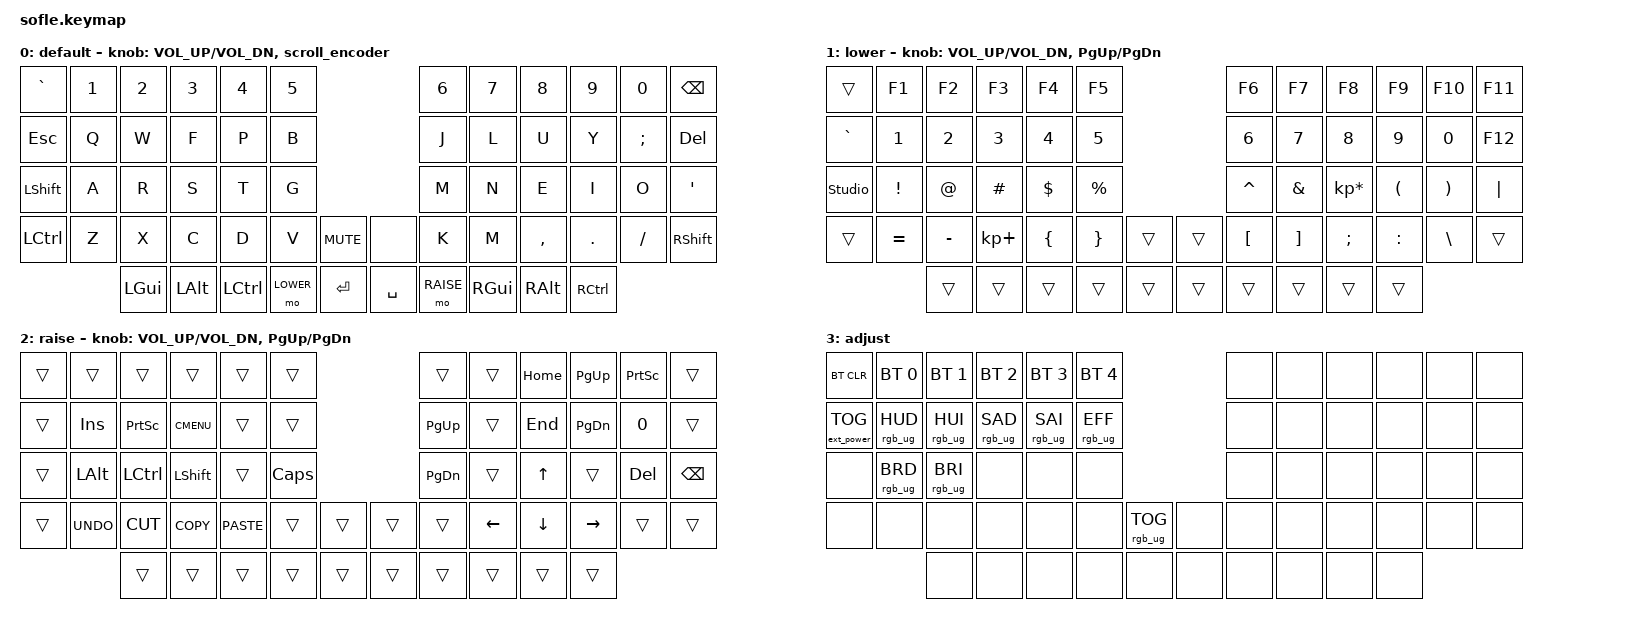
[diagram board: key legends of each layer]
/*
 * Copyright (c) 2020 The ZMK Contributors
 *
 * SPDX-License-Identifier: MIT
 */

#define ZMK_POINTING_DEFAULT_MOVE_VAL 1200  // 600
#define ZMK_POINTING_DEFAULT_SCRL_VAL 25   // 10

#include <behaviors.dtsi>
#include <dt-bindings/zmk/bt.h>
#include <dt-bindings/zmk/ext_power.h>
#include <dt-bindings/zmk/keys.h>
#include <dt-bindings/zmk/pointing.h>
#include <dt-bindings/zmk/rgb.h>

#define BASE 0
#define LOWER 1
#define RAISE 2
#define ADJUST 3

&msc {
    acceleration-exponent = <1>;      // 0
    time-to-max-speed-ms = <100>;       // 300
    delay-ms = <0>;                   // 0
};

&mmv {
    time-to-max-speed-ms = <500>;
    acceleration-exponent = <1>;
    trigger-period-ms = <16>;
};

/ {
    scroll_encoder: scroll_encoder {
        compatible = "zmk,behavior-sensor-rotate";
        #sensor-binding-cells = <0>;
        bindings = <&msc SCRL_DOWN>, <&msc SCRL_UP>;

        tap-ms = <100>;
    };

    // Activate ADJUST layer by pressing raise and lower

    conditional_layers {
        compatible = "zmk,conditional-layers";

        adjust_layer {
            if-layers = <LOWER RAISE>;
            then-layer = <ADJUST>;
        };
    };

    behaviors {
    };

    keymap {
        compatible = "zmk,keymap";

        default_layer {
            display-name = "default";

            // ------------------------------------------------------------------------------------------------------------
            // |  ESC  |  1  |  2  |  3   |  4   |  5   |                   |  6   |  7    |  8    |  9   |   0   | BKSPC |
            // |  TAB  |  Q  |  W  |  E   |  R   |  T   |                   |  Y   |  U    |  I    |  O   |   P   | DEL   |
            // | SHIFT |  A  |  S  |  D   |  F   |  G   |                   |  H   |  J    |  K    |  L   |   ;   |   '   |
            // |  CTRL |  Z  |  X  |  C   |  V   |  B   |  MUTE  |  |       |  N   |  M    |  ,    |  .   |   /   | SHIFT |
            //               | GUI | ALT  | CTRL | LOWER|  ENTER |  | SPACE | RAISE| CTRL  | ALT   | GUI  |

            bindings = <
&kp GRAVE  &kp N1  &kp N2    &kp N3    &kp N4     &kp N5                              &kp N6     &kp N7    &kp N8     &kp N9     &kp N0    &kp BSPC
&kp ESC    &kp Q   &kp W     &kp F     &kp P      &kp B                               &kp J      &kp L     &kp U      &kp Y      &kp SEMI  &kp DEL
&kp LSHFT  &kp A   &kp R     &kp S     &kp T      &kp G                               &kp M      &kp N     &kp E      &kp I      &kp O     &kp SQT
&kp LCTRL  &kp Z   &kp X     &kp C     &kp D      &kp V      &kp C_MUTE    &none      &kp K      &kp M     &kp COMMA  &kp DOT    &kp FSLH  &kp RSHFT
                   &kp LGUI  &kp LALT  &kp LCTRL  &mo LOWER  &kp RET       &kp SPACE  &mo RAISE  &kp RGUI  &kp RALT   &kp RCTRL
            >;

            sensor-bindings = <&inc_dec_kp C_VOL_UP C_VOL_DN &scroll_encoder>;
        };

        lower_layer {
            display-name = "lower";

            // TODO: Some binds are waiting for shifted keycode support.
            // ------------------------------------------------------------------------------------------------------------
            // |       |  F1 |  F2 |  F3  |  F4  |  F5  |                   |  F6  |  F7   |  F8   |  F9  |  F10  |  F11  |
            // |   `   |  1  |  2  |  3   |  4   |  5   |                   |  6   |  7    |  8    |  9   |   0   |  F12  |
            // |       |  !  |  @  |  #   |  $   |  %   |                   |  ^   |  &    |  *    |  (   |   )   |   |   |
            // |       |  =  |  -  |  +   |  {   |  }   |        |  |       |  [   |  ]    |  ;    |  :   |   \   |       |
            //               |     |      |      |      |        |  |       |      |       |       |      |

            bindings = <
&trans          &kp F1     &kp F2     &kp F3       &kp F4    &kp F5                       &kp F6     &kp F7    &kp F8           &kp F9     &kp F10   &kp F11
&kp GRAVE       &kp N1     &kp N2     &kp N3       &kp N4    &kp N5                       &kp N6     &kp N7    &kp N8           &kp N9     &kp N0    &kp F12
&studio_unlock  &kp EXCL   &kp AT     &kp HASH     &kp DLLR  &kp PRCNT                    &kp CARET  &kp AMPS  &kp KP_MULTIPLY  &kp LPAR   &kp RPAR  &kp PIPE
&trans          &kp EQUAL  &kp MINUS  &kp KP_PLUS  &kp LBRC  &kp RBRC   &trans    &trans  &kp LBKT   &kp RBKT  &kp SEMI         &kp COLON  &kp BSLH  &trans
                           &trans     &trans       &trans    &trans     &trans    &trans  &trans     &trans    &trans           &trans
            >;

            sensor-bindings = <&inc_dec_kp C_VOL_UP C_VOL_DN &inc_dec_kp PG_UP PG_DN>;
        };

        raise_layer {
            display-name = "raise";

            // ------------------------------------------------------------------------------------------------------------
            // | BTCLR | BT1  | BT2  |  BT3  |  BT4  |  BT5 |                |      |      |       |      |       |       |
            // |       | INS  | PSCR | GUI   |       |      |                | PGUP |      |   ^   |      |       |       |
            // |       | ALT  | CTRL | SHIFT |       | CAPS |                | PGDN |   <- |   v   |  ->  |  DEL  | BKSPC |
            // |       | UNDO | CUT  | COPY  | PASTE |      |      |  |      |      |      |       |      |       |       |
            //                |      |       |       |      |      |  |      |      |      |       |      |

            bindings = <
&trans  &trans      &trans     &trans       &trans       &trans                      &trans     &trans    &kp HOME        &kp PAGE_UP    &kp PRINTSCREEN  &trans
&trans  &kp INS     &kp PSCRN  &kp K_CMENU  &trans       &trans                      &kp PG_UP  &trans    &kp END         &kp PAGE_DOWN  &kp N0           &trans
&trans  &kp LALT    &kp LCTRL  &kp LSHFT    &trans       &kp CLCK                    &kp PG_DN  &trans    &kp UP_ARROW    &trans         &kp DEL          &kp BSPC
&trans  &kp K_UNDO  &kp K_CUT  &kp K_COPY   &kp K_PASTE  &trans    &trans    &trans  &trans     &kp LEFT  &kp DOWN_ARROW  &kp RIGHT      &trans           &trans
                    &trans     &trans       &trans       &trans    &trans    &trans  &trans     &trans    &trans          &trans
            >;

            sensor-bindings = <&inc_dec_kp C_VOL_UP C_VOL_DN &inc_dec_kp PG_UP PG_DN>;
        };

        adjust_layer {
            // ----------------------------------------------------------------------------------------------------------------------------
            // | BTCLR  |  BT1    |  BT2    |   BT3   |   BT4   |   BT5   |                  |      |      |       |      |       |       |
            // | EXTPWR | RGB_HUD | RGB_HUI | RGB_SAD | RGB_SAI | RGB_EFF |                  |      |      |       |      |       |       |
            // |        | RGB_BRD | RGB_BRI |         |         |         |                  |      |      |       |      |       |       |
            // |        |         |         |         |         |         | RGB_TOG | |      |      |      |       |      |       |       |
            //                    |         |         |         |         |         | |      |      |      |       |      |

            display-name = "adjust";
            bindings = <
&bt BT_CLR         &bt BT_SEL 0     &bt BT_SEL 1     &bt BT_SEL 2     &bt BT_SEL 3     &bt BT_SEL 4                               &none  &none  &none  &none  &none  &none
&ext_power EP_TOG  &rgb_ug RGB_HUD  &rgb_ug RGB_HUI  &rgb_ug RGB_SAD  &rgb_ug RGB_SAI  &rgb_ug RGB_EFF                            &none  &none  &none  &none  &none  &none
&none              &rgb_ug RGB_BRD  &rgb_ug RGB_BRI  &none            &none            &none                                      &none  &none  &none  &none  &none  &none
&none              &none            &none            &none            &none            &none            &rgb_ug RGB_TOG    &none  &none  &none  &none  &none  &none  &none
                                    &none            &none            &none            &none            &none              &none  &none  &none  &none  &none
            >;
        };
    };
};
